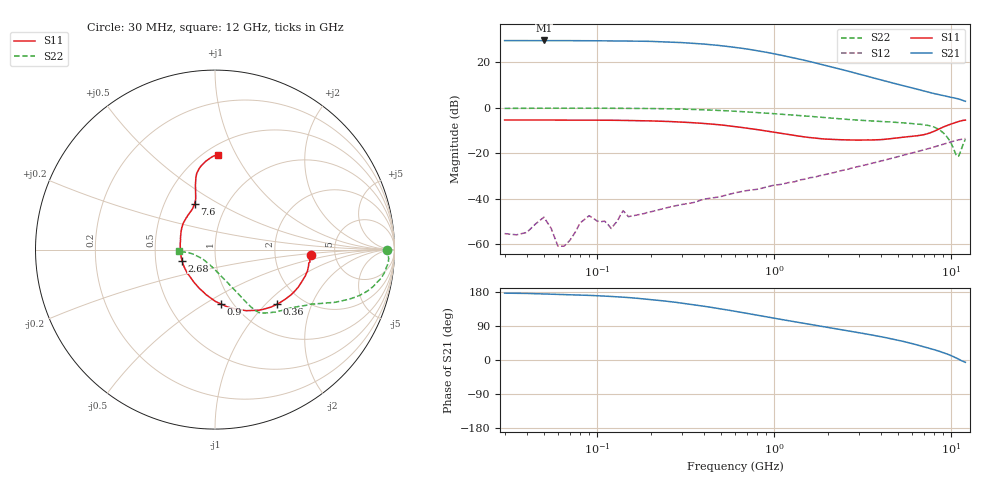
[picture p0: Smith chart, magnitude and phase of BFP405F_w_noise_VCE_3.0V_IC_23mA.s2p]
! Infineon Technologies  Discrete & RF Semiconductors
! BFP405F
! VCE =  3.0 V,  IC =  23 mA
! Common Emitter S-Parameters:  Nov 2015
# GHz  S  MA  R  50
!  f  S11  S21  S12  S22
! GHz  MAG  ANG  MAG  ANG  MAG  ANG  MAG  ANG
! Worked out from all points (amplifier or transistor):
!   239 points, 30 MHz to 12 GHz, reference 50 ohm
!   highest |S21| = 29.5 dB at 50 MHz (marker M1)
!   |S21| within 3 dB of that: start of sweep to 594.9 MHz
!   unconditionally stable (mu >= 1): 59.54 MHz to 71.55 MHz; 1.57 GHz to end of sweep
!   at 300 MHz: K = 0.39, MSG = 35.6 dB, |S12| = -42.6 dB
!   at 1.88 GHz: K = 1.10, MAG = 22.3 dB, |S12| = -29.7 dB
!   at 12 GHz: K = 1.39, MAG = 4.5 dB, |S12| = -13.6 dB
!   lowest NFmin = 2.38 dB at 450 MHz
!   S11 on the Smith chart (normalised r, x): 30 MHz: 3.26, -0.28; 360 MHz: 1.51, -1.17; 900 MHz: 0.88, -0.59; 2.68 GHz: 0.69, -0.09; 7.6 GHz: 0.71, +0.39; 12 GHz: 0.58, +0.85
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0.03  0.5335 -3.3  29.57 176.4  0.0017 147.7  0.958 -0.1
0.04  0.5329 -4.5  29.61 175.7  0.0018 92.5  0.9644 -0.4
0.05  0.5311 -6.7  29.78 174.3  0.0039 116.7  0.9715 -0.7
0.06  0.5338 -7.4  29.55 173.4  0.0009 60.9  0.9646 -1.4
0.085  0.5291 -10.5  29.39 170.9  0.0035 74.4  0.9681 -2.8
0.15  0.5187 -18.8  28.97 164.8  0.004 77.2  0.9617 -5.6
0.2  0.5089 -24.3  28.45 159.3  0.0051 92.5  0.9516 -7.9
0.24  0.498 -28.8  27.7 155.7  0.0061 80.6  0.9422 -9.3
0.3  0.4791 -35.3  26.73 150.1  0.0074 72.9  0.922 -11.3
0.36  0.4601 -41.5  25.55 145.1  0.0084 77.1  0.9056 -13.1
0.45  0.4316 -50.1  23.84 138.2  0.0104 75.5  0.8765 -15.4
0.6  0.3819 -63.0  21 128.4  0.0134 75.5  0.8297 -18.5
0.7  0.353 -70.0  19.34 123.0  0.015 71.8  0.8018 -20.0
0.9  0.3053 -83.7  16.4 113.9  0.0178 72.2  0.7532 -22.5
1.2  0.2556 -101.3  13.11 103.7  0.0224 73.1  0.6955 -25.2
1.64  0.2159 -123.2  9.945 93.0  0.0292 70.9  0.6344 -28.5
2.14  0.1995 -144.1  7.71 83.8  0.0367 71.5  0.5825 -32.5
2.68  0.1935 -161.5  6.133 76.1  0.0457 70.2  0.5433 -36.3
4.5  0.2064 158.5  3.592 56.9  0.0748 64.8  0.4829 -46.1
7.6  0.279 114.1  2.126 30.3  0.1284 51.6  0.3958 -57.0
10.8  0.4832 97.7  1.572 3.9  0.1925 33.0  0.0844 -122.6
12  0.5289 88.3  1.372 -6.1  0.208 25.9  0.2014 -177.4
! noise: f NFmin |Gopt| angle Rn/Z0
0.45  2.38  0.02  -151  0.44
0.9  2.41  0.04  -143  0.29
1.5  2.48  0.07  -134  0.34
1.9  2.55  0.09  -131  0.43
2.4  2.73  0.1  -127  0.19
3  2.85  0.11  -124  0.2
3.5  2.94  0.12  -121  0.31
4.5  3.22  0.17  -107  0.53
5.5  3.59  0.31  -88  0.51
